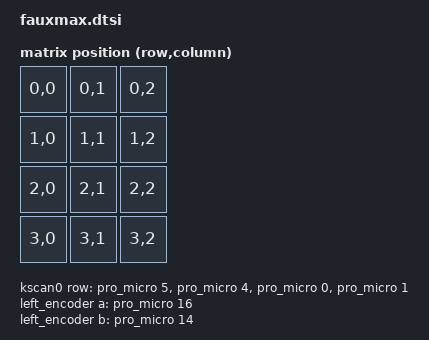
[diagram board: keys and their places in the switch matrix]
/*
 * Copyright (c) 2020 The ZMK Contributors
 *
 * SPDX-License-Identifier: MIT
 */

#include <dt-bindings/zmk/matrix_transform.h>

/ {
    chosen {
        zephyr,display = &oled;
        zmk,kscan = &kscan0;
        zmk,matrix-transform = &default_transform;
    };

    default_transform: keymap_transform_0 {
        compatible = "zmk,matrix-transform";
        columns = <3>;
        rows = <4>;

        map = <
RC(0,0) RC(0,1) RC(0,2)
RC(1,0) RC(1,1) RC(1,2)
RC(2,0) RC(2,1) RC(2,2)
RC(3,0) RC(3,1) RC(3,2)
        >;
    };

    kscan0: kscan {
        compatible = "zmk,kscan-gpio-matrix";

        diode-direction = "col2row";
        row-gpios
            = <&pro_micro 5 (GPIO_ACTIVE_HIGH | GPIO_PULL_DOWN)>
            , <&pro_micro 4 (GPIO_ACTIVE_HIGH | GPIO_PULL_DOWN)>
            , <&pro_micro 0 (GPIO_ACTIVE_HIGH | GPIO_PULL_DOWN)>
            , <&pro_micro 1 (GPIO_ACTIVE_HIGH | GPIO_PULL_DOWN)>
            ;
    };

    left_encoder: encoder_left {
        compatible = "alps,ec11";
        a-gpios = <&pro_micro 16 (GPIO_ACTIVE_HIGH | GPIO_PULL_UP)>;
        b-gpios = <&pro_micro 14 (GPIO_ACTIVE_HIGH | GPIO_PULL_UP)>;
        steps = <80>;
        status = "disabled";
    };

    sensors: sensors {
        compatible = "zmk,keymap-sensors";
        sensors = <&left_encoder>;
        triggers-per-rotation = <20>;
    };

    // TODO: per-key RGB node(s)?
    
};

&pro_micro_i2c {
    status = "okay";

    oled: ssd1306@3c {
        compatible = "solomon,ssd1306fb";
        reg = <0x3c>;
        width = <128>;
        height = <32>;
        segment-offset = <0>;
        page-offset = <0>;
        display-offset = <0>;
        multiplex-ratio = <31>;
        segment-remap;
        com-invdir;
        com-sequential;
        inversion-on;
        prechargep = <0x22>;
    };
};  
